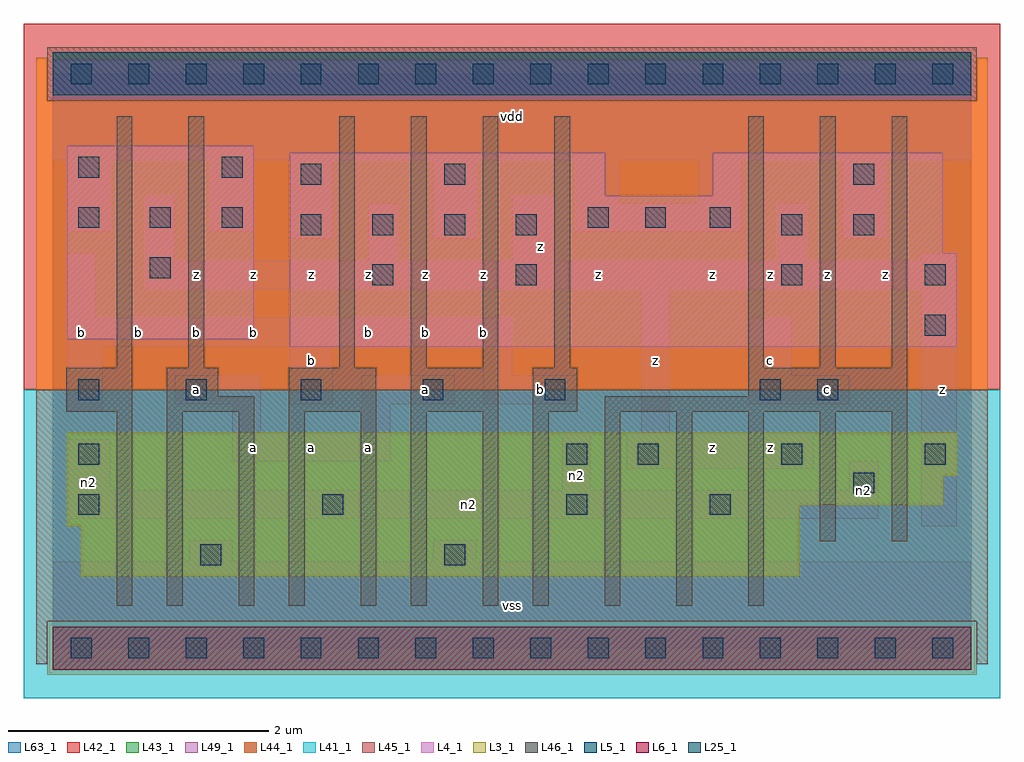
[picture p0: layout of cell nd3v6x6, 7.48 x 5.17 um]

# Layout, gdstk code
import gdstk
lib = gdstk.Library(unit=1e-6, precision=1e-09)
def R(c, l, rs):  # rectangles x0, y0, x1, y1
    for r in rs: c.add(gdstk.rectangle(r[:2], r[2:], *l))
def A(c, l, x, y, w, h, nx, ny, dx, dy):  # array of equal rectangles
    R(c, l, [(x+i*dx, y+j*dy, x+i*dx+w, y+j*dy+h) for i in range(nx) for j in range(ny)])
L3_1 = (3, 1)
L4_1 = (4, 1)
L5_1 = (5, 1)
L6_1 = (6, 1)
L25_1 = (25, 1)
L41_1 = (41, 1)
L42_1 = (42, 1)
L43_1 = (43, 1)
L44_1 = (44, 1)
L45_1 = (45, 1)
L46_1 = (46, 1)
L49_1 = (49, 1)
L63_1 = (63, 1)

nd3v6x6 = lib.new_cell('nd3v6x6')
R(nd3v6x6, L3_1, [(0.22,0.55,5.72,0.935), (0.11,0.935,5.72,1.1), (0.11,1.1,6.82,1.32), (0.11,1.32,6.93,1.65)])
R(nd3v6x6, L4_1, [(1.815,2.31,6.93,3.025), (0.11,2.365,1.54,3.85), (1.815,3.025,6.82,3.465), (1.815,3.465,4.235,3.795), (5.06,3.465,6.82,3.795)])
R(nd3v6x6, L5_1, [(0,4.235,7.04,4.565)])
R(nd3v6x6, L6_1, [(0,-0.165,7.04,0.165)])
A(nd3v6x6, L25_1, 0.14, -0.08, 0.16, 0.16, 16, 2, 0.44, 4.4)
A(nd3v6x6, L25_1, 0.195, 1.02, 0.16, 0.16, 3, 1, 1.87, 0)
A(nd3v6x6, L25_1, 4.485, 1.405, 0.16, 0.16, 3, 1, 1.1, 0)
A(nd3v6x6, L25_1, 1.9, 1.9, 0.16, 0.16, 3, 1, 0.935, 0)
A(nd3v6x6, L25_1, 1.9, 3.165, 0.16, 0.16, 4, 1, 0.55, 0)
A(nd3v6x6, L25_1, 0.195, 3.22, 0.16, 0.16, 3, 1, 0.55, 0)
R(nd3v6x6, L25_1, [(1.13,0.635,1.29,0.795), (3,0.635,3.16,0.795), (5.035,1.02,5.195,1.18), (6.135,1.185,6.295,1.345), (0.195,1.405,0.355,1.565), (3.935,1.405,4.095,1.565), (0.195,1.9,0.355,2.06), (1.02,1.9,1.18,2.06), (5.42,1.9,5.58,2.06), (5.86,1.9,6.02,2.06), (6.685,2.395,6.845,2.555), (2.45,2.78,2.61,2.94), (3.55,2.78,3.71,2.94), (5.585,2.78,5.745,2.94), (6.685,2.78,6.845,2.94), (0.745,2.835,0.905,2.995), (5.585,3.165,5.745,3.325), (6.135,3.165,6.295,3.325), (4.1,3.22,4.26,3.38), (4.54,3.22,4.7,3.38), (5.035,3.22,5.195,3.38), (1.9,3.55,2.06,3.71), (3,3.55,3.16,3.71), (6.135,3.55,6.295,3.71), (0.195,3.605,0.355,3.765), (1.295,3.605,1.455,3.765)])
R(nd3v6x6, L41_1, [(-0.22,-0.385,7.26,1.98)])
R(nd3v6x6, L42_1, [(-0.22,1.98,7.26,4.785)])
R(nd3v6x6, L43_1, [(0,-0.165,7.04,0.165), (0.22,0.55,5.72,0.935), (0.11,0.935,5.72,1.1), (0.11,1.1,6.82,1.32), (0.11,1.32,6.93,1.65), (1.815,2.31,6.93,3.025), (0.11,2.365,1.54,3.85), (1.815,3.025,6.82,3.465), (1.815,3.465,4.235,3.795), (5.06,3.465,6.82,3.795), (0,4.235,7.04,4.565)])
R(nd3v6x6, L44_1, [(-0.04,-0.205,7.08,0.205), (-0.125,1.98,7.165,4.195), (-0.125,4.195,-0.04,4.525), (7.08,4.195,7.165,4.525)])
R(nd3v6x6, L45_1, [(-0.125,-0.125,-0.04,0.205), (7.08,-0.125,7.165,0.205), (-0.125,0.205,7.165,1.98), (-0.04,4.195,7.08,4.605)])
A(nd3v6x6, L46_1, 3.68, 0.325, 0.12, 1.485, 4, 1, 0.55, 0)
A(nd3v6x6, L46_1, 2.195, 2.15, 0.12, 1.925, 4, 1, 0.55, 0)
A(nd3v6x6, L46_1, 5.33, 2.15, 0.12, 1.925, 3, 1, 0.55, 0)
R(nd3v6x6, L46_1, [(0.49,0.325,0.61,1.81), (0.875,0.325,0.995,1.81), (1.425,0.325,1.545,1.81), (1.81,0.325,1.93,1.81), (2.36,0.325,2.48,1.81), (2.745,0.325,2.865,1.81), (3.295,0.325,3.415,1.81), (5.88,0.82,6,1.81), (6.43,0.82,6.55,1.81), (0.105,1.81,0.61,2.15), (0.875,1.81,1.545,1.93), (1.81,1.81,2.48,2.15), (2.745,1.81,3.415,2.15), (3.68,1.81,4.02,2.15), (4.23,1.81,6.55,1.93), (0.875,1.93,1.27,2.15), (5.33,1.93,6.55,2.15), (0.49,2.15,0.61,4.075), (1.04,2.15,1.16,4.075)])
R(nd3v6x6, L49_1, [(0,-0.11,7.04,0.66), (1.045,0.66,1.375,0.825), (2.915,0.66,3.245,0.825), (6.655,0.935,6.93,2.75), (0.11,0.99,6.325,1.21), (0.11,1.21,0.44,1.595), (3.905,1.21,4.125,1.65), (6.105,1.21,6.325,1.43), (4.4,1.375,5.83,1.65), (1.375,1.43,2.585,1.65), (1.375,1.65,1.595,1.87), (2.365,1.65,2.585,1.87), (4.51,1.65,4.73,2.75), (0.11,1.815,0.385,2.31), (0.935,1.87,1.595,2.09), (1.815,1.87,2.145,2.31), (2.365,1.87,3.08,2.09), (3.3,1.87,4.015,2.09), (5.335,1.87,6.105,2.09), (3.3,2.09,3.52,2.31), (5.335,2.09,5.665,2.53), (0.11,2.31,3.52,2.53), (0.11,2.53,0.33,3.025), (0.715,2.75,6.93,2.97), (0.715,2.97,0.935,3.465), (2.42,2.97,2.64,3.41), (3.52,2.97,3.85,3.465), (5.555,2.97,5.775,3.41), (6.655,2.97,6.93,3.025), (1.815,3.135,2.145,3.74), (2.915,3.135,3.245,3.74), (6.05,3.135,6.38,3.74), (0.11,3.19,0.44,3.74), (1.21,3.19,1.54,3.74), (4.015,3.19,5.28,3.41), (4.015,3.41,4.345,3.74), (4.95,3.41,5.28,3.74), (0,3.74,7.04,4.51)])
R(nd3v6x6, L63_1, [(0,0,7.04,4.4)])
nd3v6x6.add(gdstk.Label('n2', (0.275,1.265), layer=49, texttype=1))
nd3v6x6.add(gdstk.Label('b', (0.66,2.42), layer=49, texttype=1))
nd3v6x6.add(gdstk.Label('b', (0.22,2.42), layer=49, texttype=1))
nd3v6x6.add(gdstk.Label('a', (1.54,1.54), layer=49, texttype=1))
nd3v6x6.add(gdstk.Label('a', (1.98,1.54), layer=49, texttype=1))
nd3v6x6.add(gdstk.Label('a', (1.1,1.98), layer=49, texttype=1))
nd3v6x6.add(gdstk.Label('b', (1.54,2.42), layer=49, texttype=1))
nd3v6x6.add(gdstk.Label('b', (1.98,2.2), layer=49, texttype=1))
nd3v6x6.add(gdstk.Label('b', (1.1,2.42), layer=49, texttype=1))
nd3v6x6.add(gdstk.Label('z', (1.1,2.86), layer=49, texttype=1))
nd3v6x6.add(gdstk.Label('z', (1.54,2.86), layer=49, texttype=1))
nd3v6x6.add(gdstk.Label('z', (1.98,2.86), layer=49, texttype=1))
nd3v6x6.add(gdstk.Label('a', (2.42,1.54), layer=49, texttype=1))
nd3v6x6.add(gdstk.Label('a', (2.86,1.98), layer=49, texttype=1))
nd3v6x6.add(gdstk.Label('b', (2.86,2.42), layer=49, texttype=1))
nd3v6x6.add(gdstk.Label('b', (3.3,2.42), layer=49, texttype=1))
nd3v6x6.add(gdstk.Label('b', (2.42,2.42), layer=49, texttype=1))
nd3v6x6.add(gdstk.Label('z', (2.42,2.86), layer=49, texttype=1))
nd3v6x6.add(gdstk.Label('z', (2.86,2.86), layer=49, texttype=1))
nd3v6x6.add(gdstk.Label('z', (3.3,2.86), layer=49, texttype=1))
nd3v6x6.add(gdstk.Label('vss', (3.52,0.33), layer=49, texttype=1))
nd3v6x6.add(gdstk.Label('n2', (4.015,1.32), layer=49, texttype=1))
nd3v6x6.add(gdstk.Label('b', (3.74,1.98), layer=49, texttype=1))
nd3v6x6.add(gdstk.Label('z', (4.62,2.2), layer=49, texttype=1))
nd3v6x6.add(gdstk.Label('z', (4.18,2.86), layer=49, texttype=1))
nd3v6x6.add(gdstk.Label('z', (3.74,3.08), layer=49, texttype=1))
nd3v6x6.add(gdstk.Label('vdd', (3.52,4.07), layer=49, texttype=1))
nd3v6x6.add(gdstk.Label('z', (5.06,1.54), layer=49, texttype=1))
nd3v6x6.add(gdstk.Label('z', (5.5,1.54), layer=49, texttype=1))
nd3v6x6.add(gdstk.Label('c', (5.5,2.2), layer=49, texttype=1))
nd3v6x6.add(gdstk.Label('z', (5.06,2.86), layer=49, texttype=1))
nd3v6x6.add(gdstk.Label('z', (5.5,2.86), layer=49, texttype=1))
nd3v6x6.add(gdstk.Label('n2', (3.19,1.1), layer=49, texttype=1))
nd3v6x6.add(gdstk.Label('n2', (6.215,1.21), layer=49, texttype=1))
nd3v6x6.add(gdstk.Label('c', (5.94,1.98), layer=49, texttype=1))
nd3v6x6.add(gdstk.Label('z', (6.82,1.98), layer=49, texttype=1))
nd3v6x6.add(gdstk.Label('z', (5.94,2.86), layer=49, texttype=1))
nd3v6x6.add(gdstk.Label('z', (6.38,2.86), layer=49, texttype=1))

lib.write_gds('nd3v6x6.gds')
